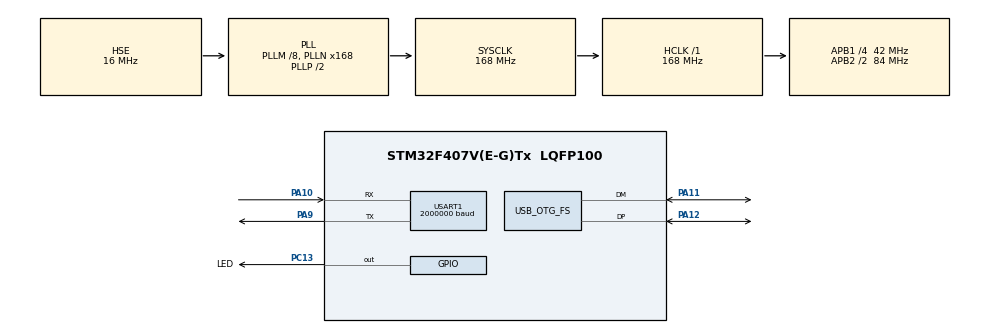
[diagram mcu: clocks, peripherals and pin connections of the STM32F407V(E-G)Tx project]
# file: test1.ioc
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Mcu.Family=STM32F4
Mcu.Name=STM32F407V(E-G)Tx
Mcu.Package=LQFP100
NVIC.OTG_FS_IRQn=true\:0\:0\:false\:false\:true\:false\:true\:true
NVIC.PriorityGroup=NVIC_PRIORITYGROUP_4
PA10.Mode=Asynchronous
PA10.Signal=USART1_RX
PA11.Mode=Device_Only
PA11.Signal=USB_OTG_FS_DM
PA12.Mode=Device_Only
PA12.Signal=USB_OTG_FS_DP
PA13.Mode=Trace_Asynchronous_SW
PA13.Signal=SYS_JTMS-SWDIO
PA14.Mode=Trace_Asynchronous_SW
PA14.Signal=SYS_JTCK-SWCLK
PA9.Mode=Asynchronous
PA9.Signal=USART1_TX
PB3.Mode=Trace_Asynchronous_SW
PB3.Signal=SYS_JTDO-SWO
PC13-ANTI_TAMP.GPIO_Label=LED
PC13-ANTI_TAMP.Signal=GPIO_Output
PH0-OSC_IN.Mode=HSE-External-Oscillator
PH0-OSC_IN.Signal=RCC_OSC_IN
PH1-OSC_OUT.Mode=HSE-External-Oscillator
PH1-OSC_OUT.Signal=RCC_OSC_OUT
ProjectManager.HeapSize=0x200
ProjectManager.StackSize=0x400
ProjectManager.TargetToolchain=STM32CubeIDE
RCC.48MHZClocksFreq_Value=48000000
RCC.AHBFreq_Value=168000000
RCC.APB1CLKDivider=RCC_HCLK_DIV4
RCC.APB1Freq_Value=42000000
RCC.APB1TimFreq_Value=84000000
RCC.APB2CLKDivider=RCC_HCLK_DIV2
RCC.APB2Freq_Value=84000000
RCC.APB2TimFreq_Value=168000000
RCC.CortexFreq_Value=168000000
RCC.HCLKFreq_Value=168000000
RCC.HSE_VALUE=16000000
RCC.HSI_VALUE=16000000
RCC.LSE_VALUE=32768
RCC.PLLM=8
RCC.PLLN=168
RCC.PLLQ=7
RCC.SYSCLKFreq_VALUE=168000000
RCC.SYSCLKSource=RCC_SYSCLKSOURCE_PLLCLK
RCC.VCOOutputFreq_Value=336000000
USART1.BaudRate=2000000
USART1.VirtualMode=VM_ASYNC
USB_DEVICE.CLASS_NAME_FS=DFU
USB_DEVICE.MANUFACTURER_STRING-DFU_FS=CurrentMakers
USB_DEVICE.PRODUCT_STRING_DFU_FS=Streamline Webasm Upload
USB_DEVICE.USBD_DFU_MEDIA-DFU_FS=@Buffer   /0x00000000/32*01Ka
USB_DEVICE.VirtualMode-DFU_FS=Dfu
USB_DEVICE.VirtualModeFS=Dfu_FS
USB_OTG_FS.VirtualMode=Device_Only
VP_USB_DEVICE_VS_USB_DEVICE_DFU_FS.Mode=DFU_FS
board=custom

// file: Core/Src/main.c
/* USER CODE BEGIN Header */
/**
 ******************************************************************************
 * @file           : main.c
 * @brief          : Main program body
 ******************************************************************************
 * @attention
 *
 * Copyright (c) 2026 STM32World <lth@stm23world.com>
 * All rights reserved.
 *
 * This software is licensed under terms that can be found in the LICENSE file
 * in the root directory of this software component.
 * If no LICENSE file comes with this software, it is provided AS-IS.
 *
 ******************************************************************************
 */
/* USER CODE END Header */
#include "main.h"
#include "usb_device.h"

/* USER CODE BEGIN Includes */
#include <stdlib.h>
#include <stdio.h>

#include "wasm3.h"
#include "m3_env.h"
/* USER CODE END Includes */

UART_HandleTypeDef huart1;

/* USER CODE BEGIN PV */

//uint8_t wasm_ready;             // Flag to indicate if wasm is ready
//uint8_t wasm_buffer[16 * 1024]; // Wasm binary goes here
//uint8_t wasm_stack[64 * 1024]; // 16KB for the Wasm stack/internal use

unsigned char toggle_tiny_wasm[] = {
  0x00, 0x61, 0x73, 0x6d, 0x01, 0x00, 0x00, 0x00, 0x01, 0x04, 0x01, 0x60,
  0x00, 0x00, 0x02, 0x12, 0x01, 0x03, 0x65, 0x6e, 0x76, 0x0a, 0x74, 0x6f,
  0x67, 0x67, 0x6c, 0x65, 0x5f, 0x6c, 0x65, 0x64, 0x00, 0x00, 0x03, 0x02,
  0x01, 0x00, 0x07, 0x0a, 0x01, 0x06, 0x74, 0x6f, 0x67, 0x67, 0x6c, 0x65,
  0x00, 0x01, 0x0a, 0x06, 0x01, 0x04, 0x00, 0x10, 0x00, 0x0b
};

unsigned int toggle_tiny_wasm_len = 58;

/* USER CODE END PV */

void SystemClock_Config(void);
static void MX_GPIO_Init(void);
static void MX_USART1_UART_Init(void);

/* USER CODE BEGIN 0 */

// Send printf to uart1
int __io_putchar(int ch) {
	if (ch == '\n') {
		HAL_UART_Transmit(&huart1, (uint8_t*) "\r", 1, HAL_MAX_DELAY);
	}
	if (HAL_UART_Transmit(&huart1, (uint8_t*) &ch, 1, HAL_MAX_DELAY)
			!= HAL_OK) {
		return -1;
	}
	return ch;
}

// This is the "Bridge" function on your STM32
m3ApiRawFunction(host_toggle_led) {

	// Toggle the LED port
    HAL_GPIO_TogglePin(LED_GPIO_Port, LED_Pin);

    // Return success (void functions in Wasm still return m3Err_none)
    m3ApiSuccess();

}

/* USER CODE END 0 */

int main(void) {

	/* MCU Configuration--------------------------------------------------------*/

	/* Reset of all peripherals, Initializes the Flash interface and the Systick. */
	HAL_Init();

	/* Configure the system clock */
	SystemClock_Config();

	/* Initialize all configured peripherals */
	MX_GPIO_Init();
	MX_USART1_UART_Init();
	MX_USB_DEVICE_Init();
	/* USER CODE BEGIN 2 */

	printf("\n\n\n\nStarting WASM demo\n");

	printf("Creating M3 environment\n");
	IM3Environment env = m3_NewEnvironment();

	printf("Creating M3 runtime\n");
	IM3Runtime runtime = m3_NewRuntime(env, 512, NULL); // 512 byte stack is enough

	printf("Parse M3 module\n");
	IM3Module module;
	M3Result result = m3_ParseModule(env, &module, toggle_tiny_wasm, sizeof(toggle_tiny_wasm));

	printf("Load M3 module\n");
	result = m3_LoadModule(runtime, module);
	if (result) { printf("Load error: %s\n", result); }

	// Link your host function
	printf("Link function\n");
	m3_LinkRawFunction(module, "env", "toggle_led", "v()", host_toggle_led);

	// Create function
	printf("Create function\n");
	IM3Function f;
	m3_FindFunction(&f, runtime, "toggle");

	/* USER CODE END 2 */

	/* Infinite loop */
	/* USER CODE BEGIN WHILE */

	uint32_t now = 0, next_blink = 500, next_tick = 1000;

	while (1) {

		now = uwTick;

		if (now >= next_blink) {
			m3_CallV(f);
			next_blink = now + 500;
		}

		if (now >= next_tick) {
			printf("Tick %lu\n", now / 1000);
			next_tick = now + 1000;
		}

		/* USER CODE END WHILE */

	}
}

void SystemClock_Config(void) {
	RCC_OscInitTypeDef RCC_OscInitStruct = { 0 };
	RCC_ClkInitTypeDef RCC_ClkInitStruct = { 0 };

	/** Configure the main internal regulator output voltage
	 */
	__HAL_RCC_PWR_CLK_ENABLE();
	__HAL_PWR_VOLTAGESCALING_CONFIG(PWR_REGULATOR_VOLTAGE_SCALE1);

	/** Initializes the RCC Oscillators according to the specified parameters
	 * in the RCC_OscInitTypeDef structure.
	 */
	RCC_OscInitStruct.OscillatorType = RCC_OSCILLATORTYPE_HSE;
	RCC_OscInitStruct.HSEState = RCC_HSE_ON;
	RCC_OscInitStruct.PLL.PLLState = RCC_PLL_ON;
	RCC_OscInitStruct.PLL.PLLSource = RCC_PLLSOURCE_HSE;
	RCC_OscInitStruct.PLL.PLLM = 8;
	RCC_OscInitStruct.PLL.PLLN = 168;
	RCC_OscInitStruct.PLL.PLLP = RCC_PLLP_DIV2;
	RCC_OscInitStruct.PLL.PLLQ = 7;
	if (HAL_RCC_OscConfig(&RCC_OscInitStruct) != HAL_OK) {
		Error_Handler();
	}

	/** Initializes the CPU, AHB and APB buses clocks
	 */
	RCC_ClkInitStruct.ClockType = RCC_CLOCKTYPE_HCLK | RCC_CLOCKTYPE_SYSCLK
			| RCC_CLOCKTYPE_PCLK1 | RCC_CLOCKTYPE_PCLK2;
	RCC_ClkInitStruct.SYSCLKSource = RCC_SYSCLKSOURCE_PLLCLK;
	RCC_ClkInitStruct.AHBCLKDivider = RCC_SYSCLK_DIV1;
	RCC_ClkInitStruct.APB1CLKDivider = RCC_HCLK_DIV4;
	RCC_ClkInitStruct.APB2CLKDivider = RCC_HCLK_DIV2;

	if (HAL_RCC_ClockConfig(&RCC_ClkInitStruct, FLASH_LATENCY_5) != HAL_OK) {
		Error_Handler();
	}
}

static void MX_USART1_UART_Init(void) {

	huart1.Instance = USART1;
	huart1.Init.BaudRate = 2000000;
	huart1.Init.WordLength = UART_WORDLENGTH_8B;
	huart1.Init.StopBits = UART_STOPBITS_1;
	huart1.Init.Parity = UART_PARITY_NONE;
	huart1.Init.Mode = UART_MODE_TX_RX;
	huart1.Init.HwFlowCtl = UART_HWCONTROL_NONE;
	huart1.Init.OverSampling = UART_OVERSAMPLING_16;
	if (HAL_UART_Init(&huart1) != HAL_OK) {
		Error_Handler();
	}

}

static void MX_GPIO_Init(void) {
	GPIO_InitTypeDef GPIO_InitStruct = { 0 };

	/* GPIO Ports Clock Enable */
	__HAL_RCC_GPIOC_CLK_ENABLE();
	__HAL_RCC_GPIOH_CLK_ENABLE();
	__HAL_RCC_GPIOA_CLK_ENABLE();
	__HAL_RCC_GPIOB_CLK_ENABLE();

	/*Configure GPIO pin Output Level */
	HAL_GPIO_WritePin(LED_GPIO_Port, LED_Pin, GPIO_PIN_RESET);

	/*Configure GPIO pin : LED_Pin */
	GPIO_InitStruct.Pin = LED_Pin;
	GPIO_InitStruct.Mode = GPIO_MODE_OUTPUT_PP;
	GPIO_InitStruct.Pull = GPIO_NOPULL;
	GPIO_InitStruct.Speed = GPIO_SPEED_FREQ_LOW;
	HAL_GPIO_Init(LED_GPIO_Port, &GPIO_InitStruct);

}

void Error_Handler(void) {
	__disable_irq();
	while (1) {
	}
}
